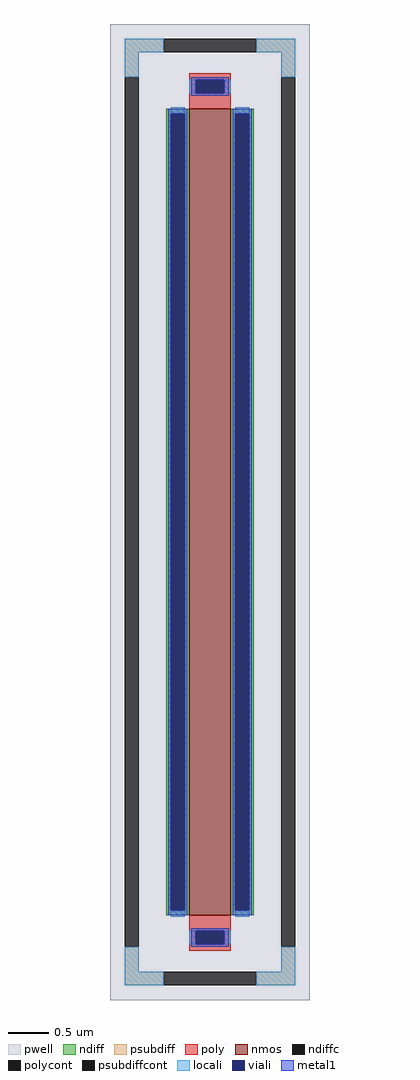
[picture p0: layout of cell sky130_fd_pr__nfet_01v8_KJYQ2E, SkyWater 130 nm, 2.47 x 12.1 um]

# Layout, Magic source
magic
tech sky130A
magscale 1 2
<< pwell >>
rect -247 -1210 247 1210
<< nmos >>
rect -51 -1000 51 1000
<< ndiff >>
rect -109 988 -51 1000
rect -109 -988 -97 988
rect -63 -988 -51 988
rect -109 -1000 -51 -988
rect 51 988 109 1000
rect 51 -988 63 988
rect 97 -988 109 988
rect 51 -1000 109 -988
<< ndiffc >>
rect -97 -988 -63 988
rect 63 -988 97 988
<< psubdiff >>
rect -211 1140 -115 1174
rect 115 1140 211 1174
rect -211 1078 -177 1140
rect 177 1078 211 1140
rect -211 -1140 -177 -1078
rect 177 -1140 211 -1078
rect -211 -1174 -115 -1140
rect 115 -1174 211 -1140
<< psubdiffcont >>
rect -115 1140 115 1174
rect -211 -1078 -177 1078
rect 177 -1078 211 1078
rect -115 -1174 115 -1140
<< poly >>
rect -51 1072 51 1088
rect -51 1038 -35 1072
rect 35 1038 51 1072
rect -51 1000 51 1038
rect -51 -1038 51 -1000
rect -51 -1072 -35 -1038
rect 35 -1072 51 -1038
rect -51 -1088 51 -1072
<< polycont >>
rect -35 1038 35 1072
rect -35 -1072 35 -1038
<< locali >>
rect -211 1140 -115 1174
rect 115 1140 211 1174
rect -211 1078 -177 1140
rect 177 1078 211 1140
rect -51 1038 -35 1072
rect 35 1038 51 1072
rect -97 988 -63 1004
rect -97 -1004 -63 -988
rect 63 988 97 1004
rect 63 -1004 97 -988
rect -51 -1072 -35 -1038
rect 35 -1072 51 -1038
rect -211 -1140 -177 -1078
rect 177 -1140 211 -1078
rect -211 -1174 -115 -1140
rect 115 -1174 211 -1140
<< viali >>
rect -35 1038 35 1072
rect -97 -988 -63 988
rect 63 -988 97 988
rect -35 -1072 35 -1038
<< metal1 >>
rect -47 1072 47 1078
rect -47 1038 -35 1072
rect 35 1038 47 1072
rect -47 1032 47 1038
rect -103 988 -57 1000
rect -103 -988 -97 988
rect -63 -988 -57 988
rect -103 -1000 -57 -988
rect 57 988 103 1000
rect 57 -988 63 988
rect 97 -988 103 988
rect 57 -1000 103 -988
rect -47 -1038 47 -1032
rect -47 -1072 -35 -1038
rect 35 -1072 47 -1038
rect -47 -1078 47 -1072
<< properties >>
string FIXED_BBOX -194 -1157 194 1157
string gencell sky130_fd_pr__nfet_01v8
string library sky130
string parameters w 10 l 0.505 m 1 nf 1 diffcov 100 polycov 100 guard 1 glc 1 grc 1 gtc 1 gbc 1 tbcov 100 rlcov 100 topc 1 botc 1 poverlap 0 doverlap 1 lmin 0.15 wmin 0.42 compatible {sky130_fd_pr__nfet_01v8 sky130_fd_pr__nfet_01v8_lvt  sky130_fd_bs_flash__special_sonosfet_star  sky130_fd_pr__nfet_g5v0d10v5 sky130_fd_pr__nfet_05v0_nvt  sky130_fd_pr__nfet_03v3_nvt} full_metal 1 viasrc 100 viadrn 100 viagate 100 viagb 0 viagr 0 viagl 0 viagt 0
<< end >>
